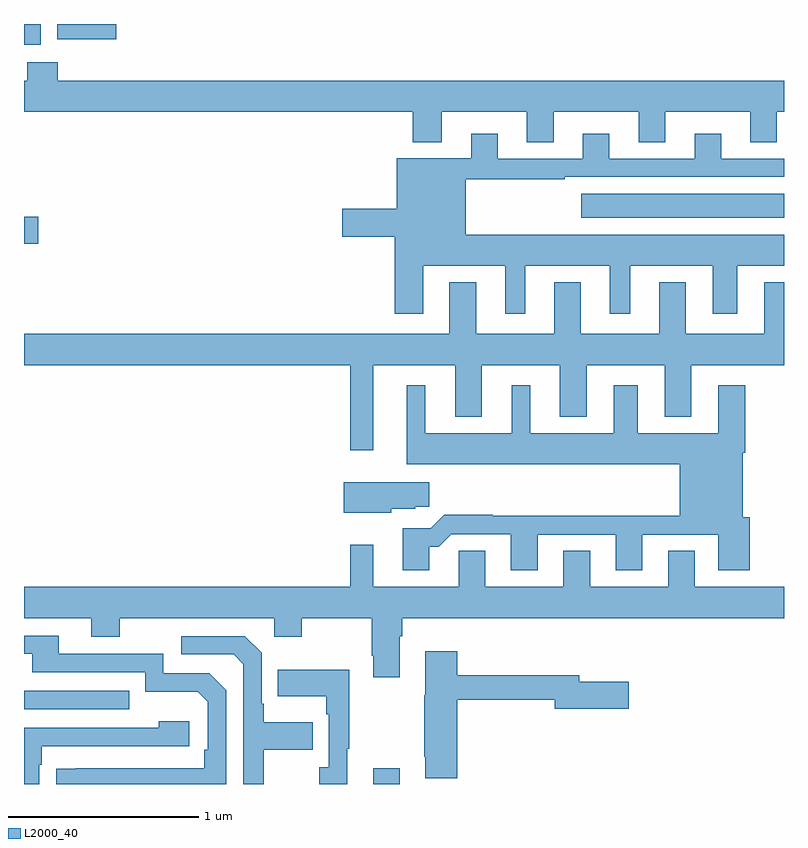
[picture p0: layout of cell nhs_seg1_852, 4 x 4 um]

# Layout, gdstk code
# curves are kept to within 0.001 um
import gdstk
lib = gdstk.Library(unit=1e-6, precision=1e-09)
def R(c, l, rs):  # rectangles x0, y0, x1, y1
    for r in rs: c.add(gdstk.rectangle(r[:2], r[2:], *l))
def P(c, l, *ps):  # polygons
    for p in ps: c.add(gdstk.Polygon(p, *l))
L2000_40 = (2000, 40)

nhs_seg1_852 = lib.new_cell('nhs_seg1_852')
R(nhs_seg1_852, L2000_40, [(158.837,544.199,158.977,544.282), (157,544.593,157.553,544.689), (157,547.042,157.075,547.184), (159.933,547.178,161,547.306), (157,548.09,157.087,548.199), (157.176,548.119,157.486,548.199)])
P(nhs_seg1_852, L2000_40, [(159.787,547.736),(160.235,547.736),(160.235,547.576),(160.375,547.576),(160.375,547.736),(160.823,547.736),(160.823,547.576),(160.963,547.576),(160.963,547.736),(161,547.736),(161,547.9),(157.178,547.9),(157.178,547.999),(157.018,547.999),(157.018,547.9),(157,547.9),(157,547.736),(159.047,547.736),(159.047,547.577),(159.199,547.577),(159.199,547.736),(159.647,547.736),(159.647,547.576),(159.787,547.576)],
  [(159.1,546.926),(159.533,546.926),(159.533,546.675),(159.637,546.675),(159.637,546.926),(160.082,546.926),(160.082,546.675),(160.192,546.675),(160.192,546.926),(160.625,546.926),(160.625,546.675),(160.753,546.675),(160.753,546.926),(161,546.926),(161,547.09),(159.325,547.09),(159.325,547.383),(159.845,547.383),(159.845,547.395),(161,547.395),(161,547.491),(160.669,547.491),(160.669,547.621),(160.529,547.621),(160.529,547.491),(160.081,547.491),(160.081,547.621),(159.941,547.621),(159.941,547.491),(159.493,547.491),(159.493,547.621),(159.353,547.621),(159.353,547.492),(158.963,547.492),(158.963,547.226),(158.676,547.226),(158.676,547.079),(158.951,547.079),(158.951,546.675),(159.1,546.675)],
  [(158.839,546.404),(159.269,546.404),(159.269,546.131),(159.409,546.131),(159.409,546.404),(159.821,546.404),(159.821,546.131),(159.961,546.131),(159.961,546.404),(160.373,546.404),(160.373,546.131),(160.513,546.131),(160.513,546.404),(161,546.404),(161,546.841),(160.895,546.841),(160.895,546.568),(160.483,546.568),(160.483,546.841),(160.343,546.841),(160.343,546.568),(159.931,546.568),(159.931,546.841),(159.791,546.841),(159.791,546.568),(159.379,546.568),(159.379,546.841),(159.239,546.841),(159.239,546.568),(157,546.568),(157,546.404),(158.718,546.404),(158.718,545.955),(158.839,545.955)],
  [(159.133,545.447),(159.182,545.447),(159.249,545.514),(159.563,545.514),(159.563,545.325),(159.703,545.325),(159.703,545.511),(160.115,545.511),(160.115,545.325),(160.255,545.325),(160.255,545.511),(160.655,545.511),(160.655,545.325),(160.82,545.325),(160.82,545.604),(160.783,545.604),(160.783,545.942),(160.796,545.942),(160.796,546.298),(160.655,546.298),(160.655,546.046),(160.231,546.046),(160.231,546.298),(160.103,546.298),(160.103,546.046),(159.664,546.046),(159.664,546.298),(159.566,546.298),(159.566,546.046),(159.112,546.046),(159.112,546.298),(159.014,546.298),(159.014,545.882),(160.451,545.882),(160.451,545.612),(159.467,545.612),(159.467,545.615),(159.212,545.615),(159.141,545.544),(158.993,545.544),(158.993,545.325),(159.133,545.325)],
  [(158.934,545.648),(159.06,545.648),(159.06,545.659),(159.133,545.659),(159.133,545.788),(158.684,545.788),(158.684,545.627),(158.934,545.627)],
  [(158.977,544.976),(158.99,544.976),(158.99,545.072),(161,545.072),(161,545.236),(160.531,545.236),(160.531,545.426),(160.391,545.426),(160.391,545.236),(159.979,545.236),(159.979,545.426),(159.839,545.426),(159.839,545.236),(159.427,545.236),(159.427,545.426),(159.288,545.426),(159.288,545.236),(158.839,545.236),(158.839,545.458),(158.718,545.458),(158.718,545.236),(157,545.236),(157,545.072),(157.355,545.072),(157.355,544.973),(157.503,544.973),(157.503,545.072),(158.316,545.072),(158.316,544.973),(158.463,544.973),(158.463,545.072),(158.83,545.072),(158.83,544.873),(158.837,544.873),(158.837,544.761),(158.977,544.761)],
  [(158.064,544.692),(157.974,544.782),(157.734,544.782),(157.734,544.884),(157.183,544.884),(157.183,544.98),(157,544.98),(157,544.884),(157.043,544.884),(157.043,544.788),(157.638,544.788),(157.638,544.685),(157.915,544.685),(157.968,544.632),(157.968,544.378),(157.948,544.378),(157.948,544.281),(157.171,544.28),(157.171,544.199),(158.064,544.199)],
  [(158.263,544.378),(158.519,544.378),(158.519,544.525),(158.263,544.525),(158.263,544.621),(158.25,544.621),(158.25,544.89),(158.163,544.977),(157.827,544.977),(157.827,544.881),(158.103,544.881),(158.154,544.83),(158.154,544.199),(158.263,544.199)],
  [(159.281,544.642),(159.794,544.642),(159.794,544.595),(160.183,544.595),(160.183,544.737),(159.922,544.737),(159.922,544.771),(159.281,544.771),(159.281,544.897),(159.113,544.897),(159.113,544.665),(159.106,544.665),(159.106,544.342),(159.113,544.342),(159.113,544.23),(159.281,544.23)],
  [(158.701,544.385),(158.713,544.385),(158.713,544.801),(158.335,544.801),(158.335,544.661),(158.592,544.661),(158.592,544.565),(158.604,544.565),(158.604,544.286),(158.553,544.286),(158.553,544.199),(158.701,544.199)],
  [(157.08,544.301),(157.093,544.301),(157.093,544.398),(157.87,544.398),(157.87,544.528),(157.709,544.528),(157.709,544.494),(157,544.494),(157,544.199),(157.08,544.199)])

lib.write_gds('nhs_seg1_852.gds')
